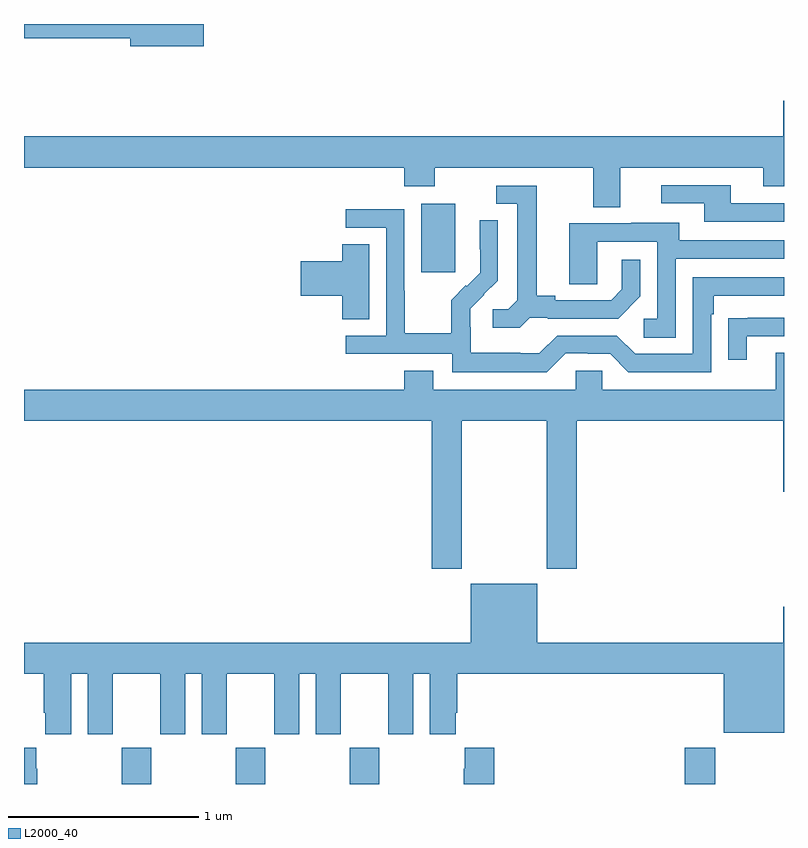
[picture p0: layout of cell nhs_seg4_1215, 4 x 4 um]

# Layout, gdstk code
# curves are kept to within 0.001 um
import gdstk
lib = gdstk.Library(unit=1e-6, precision=1e-09)
def R(c, l, rs):  # rectangles x0, y0, x1, y1
    for r in rs: c.add(gdstk.rectangle(r[:2], r[2:], *l))
def A(c, l, x, y, w, h, nx, ny, dx, dy):  # array of equal rectangles
    R(c, l, [(x+i*dx, y+j*dy, x+i*dx+w, y+j*dy+h) for i in range(nx) for j in range(ny)])
def P(c, l, *ps):  # polygons
    for p in ps: c.add(gdstk.Polygon(p, *l))
L2000_40 = (2000, 40)

nhs_seg4_1215 = lib.new_cell('nhs_seg4_1215')
A(nhs_seg4_1215, L2000_40, 173.515, 802.9, 0.155, 0.192, 3, 1, 0.6, 0)
R(nhs_seg4_1215, L2000_40, [(176.477,802.9,176.637,803.092), (175.091,805.593,175.27,805.954)])
P(nhs_seg4_1215, L2000_40, [(173.947,806.9),(173,806.9),(173,806.824),(173.558,806.824),(173.558,806.782),(173.947,806.782)],
  [(176.137,806.144),(176.891,806.144),(176.891,806.045),(177,806.045),(177,806.497),(176.996,806.497),(176.996,806.308),(173,806.308),(173,806.144),(175.001,806.144),(175.001,806.045),(175.161,806.045),(175.161,806.144),(175.997,806.144),(175.997,805.936),(176.137,805.936)],
  [(177,805.956),(176.719,805.956),(176.719,806.052),(176.355,806.052),(176.355,805.956),(176.579,805.956),(176.579,805.86),(177,805.86)],
  [(175.662,805.353),(175.756,805.353),(175.756,805.35),(176.128,805.35),(176.244,805.466),(176.244,805.66),(176.147,805.66),(176.147,805.503),(176.09,805.446),(175.795,805.446),(175.795,805.469),(175.699,805.469),(175.699,806.049),(175.485,806.049),(175.485,805.953),(175.595,805.953),(175.595,805.445),(175.548,805.398),(175.467,805.398),(175.467,805.301),(175.61,805.301)],
  [(175.851,805.167),(175.967,805.167),(175.967,805.164),(176.085,805.164),(176.181,805.068),(176.616,805.068),(176.616,805.373),(176.629,805.373),(176.629,805.47),(177,805.47),(177,805.566),(176.52,805.566),(176.52,805.164),(176.217,805.164),(176.121,805.26),(175.806,805.26),(175.713,805.167),(175.613,805.167),(175.613,805.171),(175.35,805.171),(175.35,805.305),(175.348,805.305),(175.348,805.402),(175.494,805.55),(175.494,805.868),(175.398,805.868),(175.398,805.714),(175.4,805.714),(175.4,805.592),(175.329,805.521),(175.326,805.524),(175.249,805.447),(175.249,805.273),(175.005,805.273),(175.005,805.496),(175.002,805.496),(175.002,805.926),(174.693,805.926),(174.693,805.827),(174.906,805.827),(174.906,805.26),(174.693,805.26),(174.693,805.164),(175.254,805.164),(175.254,805.067),(175.751,805.067)],
  [(176.43,805.665),(177,805.665),(177,805.761),(176.449,805.761),(176.449,805.855),(176.195,805.855),(176.195,805.851),(175.871,805.851),(175.871,805.531),(176.016,805.531),(176.016,805.755),(176.334,805.755),(176.334,805.35),(176.262,805.35),(176.262,805.249),(176.43,805.249)],
  [(174.817,805.742),(174.674,805.742),(174.674,805.652),(174.456,805.652),(174.456,805.469),(174.674,805.469),(174.674,805.345),(174.817,805.345)],
  [(176.803,805.257),(177,805.257),(177,805.353),(176.809,805.353),(176.809,805.352),(176.707,805.352),(176.707,805.134),(176.803,805.134)],
  [(175.305,804.812),(175.75,804.812),(175.75,804.033),(175.91,804.033),(175.91,804.812),(176.996,804.812),(176.996,804.438),(177,804.438),(177,805.171),(176.957,805.171),(176.957,804.976),(176.043,804.976),(176.043,805.074),(175.905,805.074),(175.905,804.976),(175.153,804.976),(175.153,805.075),(175.001,805.075),(175.001,804.976),(173,804.976),(173,804.812),(175.145,804.812),(175.145,804.033),(175.305,804.033)],
  [(173.248,803.48),(173.336,803.48),(173.336,803.163),(173.467,803.163),(173.467,803.48),(173.717,803.48),(173.717,803.163),(173.848,803.163),(173.848,803.48),(173.936,803.48),(173.936,803.163),(174.067,803.163),(174.067,803.48),(174.317,803.48),(174.317,803.163),(174.448,803.163),(174.448,803.48),(174.536,803.48),(174.536,803.163),(174.667,803.163),(174.667,803.48),(174.917,803.48),(174.917,803.163),(175.048,803.163),(175.048,803.48),(175.136,803.48),(175.136,803.163),(175.273,803.163),(175.273,803.275),(175.28,803.275),(175.28,803.48),(176.684,803.48),(176.684,803.171),(177,803.171),(177,803.833),(176.996,803.833),(176.996,803.644),(175.702,803.644),(175.702,803.953),(175.352,803.953),(175.352,803.644),(173,803.644),(173,803.48),(173.105,803.48),(173.105,803.275),(173.111,803.275),(173.111,803.163),(173.248,803.163)],
  [(175.475,803.092),(175.319,803.092),(175.319,802.979),(175.315,802.979),(175.315,802.9),(175.475,802.9)],
  [(173.07,802.979),(173.065,802.979),(173.065,803.092),(173,803.092),(173,802.9),(173.07,802.9)])

lib.write_gds('nhs_seg4_1215.gds')
